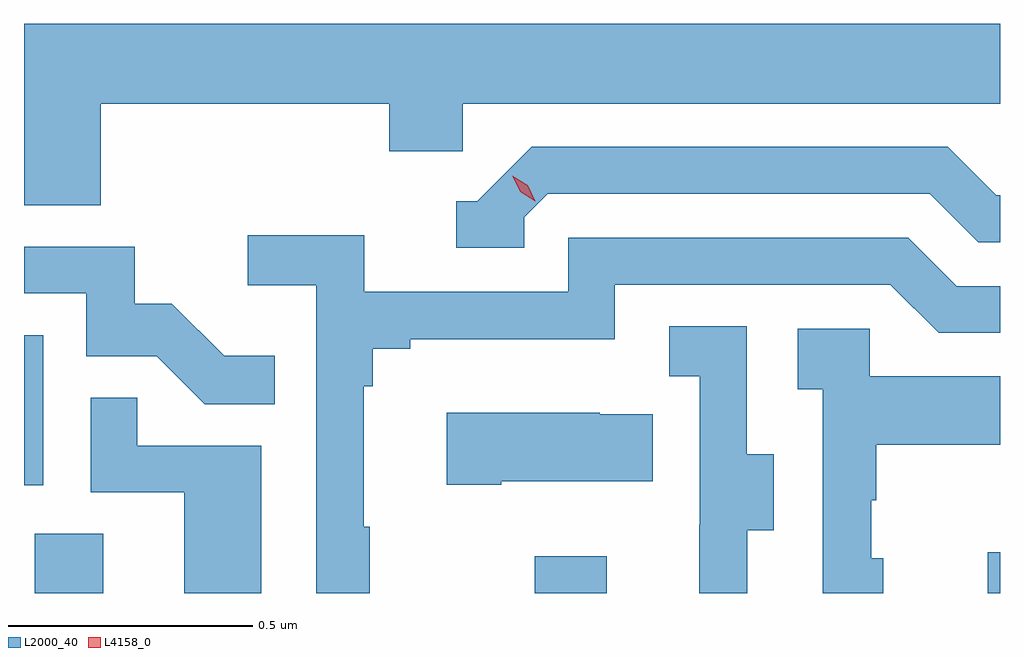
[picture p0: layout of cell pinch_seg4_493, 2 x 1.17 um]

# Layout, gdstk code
import gdstk
lib = gdstk.Library(unit=1e-6, precision=1e-09)
def R(c, l, rs):  # rectangles x0, y0, x1, y1
    for r in rs: c.add(gdstk.rectangle(r[:2], r[2:], *l))
def P(c, l, *ps):  # polygons
    for p in ps: c.add(gdstk.Polygon(p, *l))
L2000_40 = (2000, 40)
L4158_0 = (4158, 0)

pinch_seg4_493 = lib.new_cell('pinch_seg4_493')
R(pinch_seg4_493, L2000_40, [(901.619,763.848,901.759,763.97), (902.644,763.848,902.791,763.924), (903.572,763.848,903.597,763.933), (901.597,764.07,901.636,764.377)])
P(pinch_seg4_493, L2000_40, [(901.754,764.852),(902.345,764.852),(902.345,764.754),(902.496,764.754),(902.496,764.852),(903.597,764.852),(903.597,765.016),(901.597,765.016),(901.597,764.644),(901.754,764.644)],
  [(902.622,764.619),(902.67,764.667),(903.453,764.667),(903.552,764.568),(903.597,764.568),(903.597,764.664),(903.589,764.664),(903.49,764.763),(902.637,764.763),(902.526,764.652),(902.483,764.652),(902.483,764.556),(902.622,764.556)],
  [(902.305,763.985),(902.293,763.985),(902.293,764.273),(902.312,764.273),(902.312,764.35),(902.389,764.35),(902.389,764.369),(902.808,764.369),(902.808,764.481),(903.372,764.481),(903.471,764.382),(903.597,764.382),(903.597,764.478),(903.508,764.478),(903.409,764.577),(902.712,764.577),(902.712,764.466),(902.294,764.466),(902.294,764.582),(902.055,764.582),(902.055,764.48),(902.196,764.48),(902.196,763.848),(902.305,763.848)],
  [(902.111,764.335),(902.007,764.335),(901.9,764.442),(901.824,764.442),(901.824,764.559),(901.597,764.559),(901.597,764.463),(901.725,764.463),(901.725,764.334),(901.869,764.334),(901.967,764.236),(902.111,764.236)],
  [(903.079,763.978),(903.133,763.978),(903.133,764.133),(903.078,764.133),(903.078,764.396),(902.919,764.396),(902.919,764.293),(902.982,764.293),(902.982,763.989),(902.981,763.989),(902.981,763.848),(903.079,763.848)],
  [(903.358,763.92),(903.333,763.92),(903.333,764.039),(903.343,764.039),(903.343,764.153),(903.597,764.153),(903.597,764.293),(903.33,764.293),(903.33,764.391),(903.183,764.391),(903.183,764.267),(903.234,764.267),(903.234,763.848),(903.358,763.848)],
  [(902.083,764.151),(901.829,764.151),(901.829,764.249),(901.734,764.249),(901.734,764.055),(901.925,764.055),(901.925,763.848),(902.083,763.848)],
  [(902.575,764.078),(902.885,764.078),(902.885,764.215),(902.777,764.215),(902.777,764.218),(902.463,764.218),(902.463,764.071),(902.575,764.071)])
P(pinch_seg4_493, L4158_0, [(902.645,764.652),(902.614,764.671),(902.598,764.704),(902.598,764.704),(902.598,764.704),(902.629,764.685),(902.645,764.652),(902.645,764.652)])

lib.write_gds('pinch_seg4_493.gds')
